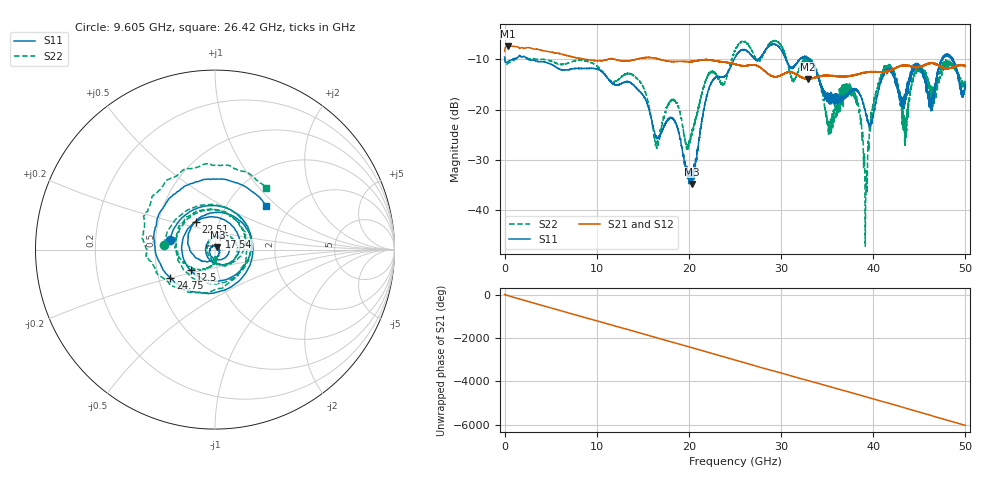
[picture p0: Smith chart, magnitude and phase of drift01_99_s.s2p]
!Created with skrf (http://scikit-rf.org).
# Hz S RI R 50.0
!freq ReS11 ImS11 ReS21 ImS21 ReS12 ImS12 ReS22 ImS22
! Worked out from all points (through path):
!   10001 points, 300 kHz to 50 GHz, reference 50 ohm
!   highest |S21| = -7.34 dB at 345.3 MHz (marker M1); lowest = -14.0 dB at 32.89 GHz (marker M2)
!   group delay of S21, straight-line fit = 335 ps
!   lowest |S11| = -34.8 dB at 20.33 GHz (marker M3), VSWR 1.04, Z = 51.4 + j1.25 ohm
!   |S11| at or under -10 dB: 2.557 GHz to 24.92 GHz (22.36 GHz wide, 163 % of centre); 30.52 GHz to 32.01 GHz (1.495 GHz wide, 4.78 % of centre); 33.08 GHz to 47.45 GHz (14.37 GHz wide, 35.7 % of centre) (the widest 3 of 16)
!   |S22| runs from -47.1 to -6.3 dB; largest |S21 - S12| = 0.0096
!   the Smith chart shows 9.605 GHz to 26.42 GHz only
!   S11 on the Smith chart (normalised r, x): 9.605 GHz: 0.60, +0.07; 12.5 GHz: 0.74, -0.18; 17.54 GHz: 1.04, +0.15; 22.51 GHz: 0.77, +0.25; 24.75 GHz: 0.58, -0.20; 26.42 GHz: 1.50, +0.85
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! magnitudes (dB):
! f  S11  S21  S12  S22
! 300 kHz  -9.6  -8.4  -8.5  -9.5
! 345.3 MHz  -10.5  -7.3  -7.3  -10.9
! 8.335 GHz  -11.8  -9.8  -9.8  -10.2
! 9.605 GHz  -11.8  -10.2  -10.2  -10.8
! 12.5 GHz  -15.0  -10.2  -10.3  -13.7
! 16.67 GHz  -25.8  -10.0  -10.0  -27.1
! 17.54 GHz  -22.4  -10.3  -10.3  -19.8
! 20.33 GHz  -34.8  -10.4  -10.4  -24.9
! 22.51 GHz  -14.5  -10.2  -10.2  -12.5
! 24.75 GHz  -10.6  -10.8  -10.8  -9.3
! 25 GHz  -9.6  -11.0  -11.0  -8.3
! 26.42 GHz  -8.5  -11.2  -11.2  -7.0
! 32.89 GHz  -9.9  -14.0  -13.8  -10.0
! 33.34 GHz  -10.6  -13.8  -13.8  -10.5
! 35.23 GHz  -17.4  -13.2  -13.3  -22.5
! 37.98 GHz  -15.9  -13.1  -13.1  -16.9
! 39.17 GHz  -20.5  -12.6  -12.6  -41.5
! 40.15 GHz  -19.9  -12.5  -12.5  -17.7
! 41.67 GHz  -12.0  -12.3  -12.4  -12.0
! 43.45 GHz  -17.4  -11.3  -11.3  -25.3
! 44.86 GHz  -11.1  -11.6  -11.5  -11.9
! 50 GHz  -15.5  -11.4  -11.4  -15.0
